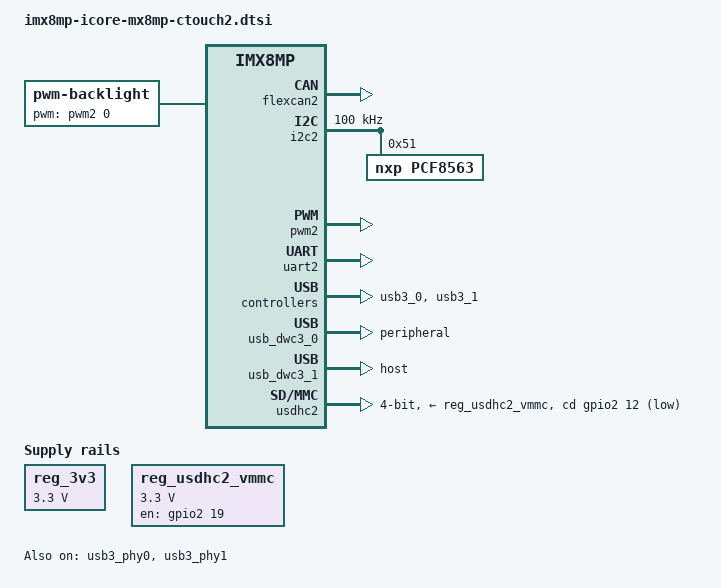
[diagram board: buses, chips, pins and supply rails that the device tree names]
// SPDX-License-Identifier: (GPL-2.0+ OR MIT)
/*
 * Copyright (C) 2026 Amarula Solutions, Dario Binacchi <dario.binacchi@amarulasolutions.com>
 * Copyright (C) 2026 Engicam srl
 *
 * Engicam C.TOUCH 2.0 carrier board for i.Core MX8M Plus SoMs.
 */

/ {
	aliases {
		rtc0 = &pcf8563;
		rtc1 = &snvs_rtc;
	};

	backlight: backlight {
		compatible = "pwm-backlight";
		pwms = <&pwm2 0 100000 0>;
		brightness-levels = <0 100>;
		num-interpolated-steps = <100>;
		default-brightness-level = <80>;
	};

	chosen {
		stdout-path = &uart2;
	};

	reg_3v3: regulator-3v3 {
		compatible = "regulator-fixed";
		regulator-name = "3v3";
		regulator-min-microvolt = <3300000>;
		regulator-max-microvolt = <3300000>;
	};

	reg_usdhc2_vmmc: regulator-usdhc2 {
		compatible = "regulator-fixed";
		pinctrl-names = "default";
		pinctrl-0 = <&pinctrl_reg_usdhc2_vmmc>;
		regulator-name = "VSD_3V3";
		regulator-min-microvolt = <3300000>;
		regulator-max-microvolt = <3300000>;
		gpio = <&gpio2 19 GPIO_ACTIVE_HIGH>;
		enable-active-high;
	};
};

&flexcan2 {
	pinctrl-names = "default";
	pinctrl-0 = <&pinctrl_flexcan2>;
	status = "okay";
};

&i2c2 {
	clock-frequency = <100000>;
	pinctrl-names = "default";
	pinctrl-0 = <&pinctrl_i2c2>;
	status = "okay";

	pcf8563: rtc@51 {
		compatible = "nxp,pcf8563";
		reg = <0x51>;
	};
};

&pwm2 {
	pinctrl-names = "default";
	pinctrl-0 = <&pinctrl_pwm2>;
	status = "okay";
};

/* console */
&uart2 {
	pinctrl-names = "default";
	pinctrl-0 = <&pinctrl_uart2>;
	status = "okay";
};

/* USB OTG, device only */
&usb3_phy0 {
	status = "okay";
};

&usb3_0 {
	status = "okay";
};

&usb_dwc3_0 {
	dr_mode = "peripheral";
	status = "okay";
};

/* USB host, through the on-board hub */
&usb3_phy1 {
	status = "okay";
};

&usb3_1 {
	status = "okay";
};

&usb_dwc3_1 {
	dr_mode = "host";
	status = "okay";
};

/* micro SD */
&usdhc2 {
	pinctrl-names = "default";
	pinctrl-0 = <&pinctrl_usdhc2>, <&pinctrl_usdhc2_gpio>;
	cd-gpios = <&gpio2 12 GPIO_ACTIVE_LOW>;
	bus-width = <4>;
	vmmc-supply = <&reg_usdhc2_vmmc>;
	status = "okay";
};

&iomuxc {
	pinctrl_flexcan2: flexcan2grp {
		fsl,pins = <
			MX8MP_IOMUXC_SAI5_MCLK__CAN2_RX		0x154
			MX8MP_IOMUXC_SAI5_RXD3__CAN2_TX		0x154
		>;
	};

	pinctrl_i2c2: i2c2grp {
		fsl,pins = <
			MX8MP_IOMUXC_I2C2_SCL__I2C2_SCL		0x400001c2
			MX8MP_IOMUXC_I2C2_SDA__I2C2_SDA		0x400001c2
		>;
	};

	pinctrl_pwm2: pwm2grp {
		fsl,pins = <
			MX8MP_IOMUXC_GPIO1_IO11__PWM2_OUT	0x116
		>;
	};

	pinctrl_reg_usdhc2_vmmc: regusdhc2vmmcgrp {
		fsl,pins = <
			MX8MP_IOMUXC_SD2_RESET_B__GPIO2_IO19	0x40
		>;
	};

	pinctrl_uart2: uart2grp {
		fsl,pins = <
			MX8MP_IOMUXC_UART2_RXD__UART2_DCE_RX	0x40
			MX8MP_IOMUXC_UART2_TXD__UART2_DCE_TX	0x40
		>;
	};

	pinctrl_usdhc2: usdhc2grp {
		fsl,pins = <
			MX8MP_IOMUXC_SD2_CLK__USDHC2_CLK	0x190
			MX8MP_IOMUXC_SD2_CMD__USDHC2_CMD	0x1d0
			MX8MP_IOMUXC_SD2_DATA0__USDHC2_DATA0	0x1d0
			MX8MP_IOMUXC_SD2_DATA1__USDHC2_DATA1	0x1d0
			MX8MP_IOMUXC_SD2_DATA2__USDHC2_DATA2	0x1d0
			MX8MP_IOMUXC_SD2_DATA3__USDHC2_DATA3	0x1d0
			MX8MP_IOMUXC_GPIO1_IO04__USDHC2_VSELECT	0xc0
		>;
	};

	pinctrl_usdhc2_gpio: usdhc2gpiogrp {
		fsl,pins = <
			MX8MP_IOMUXC_SD2_CD_B__GPIO2_IO12	0x1c4
		>;
	};
};
